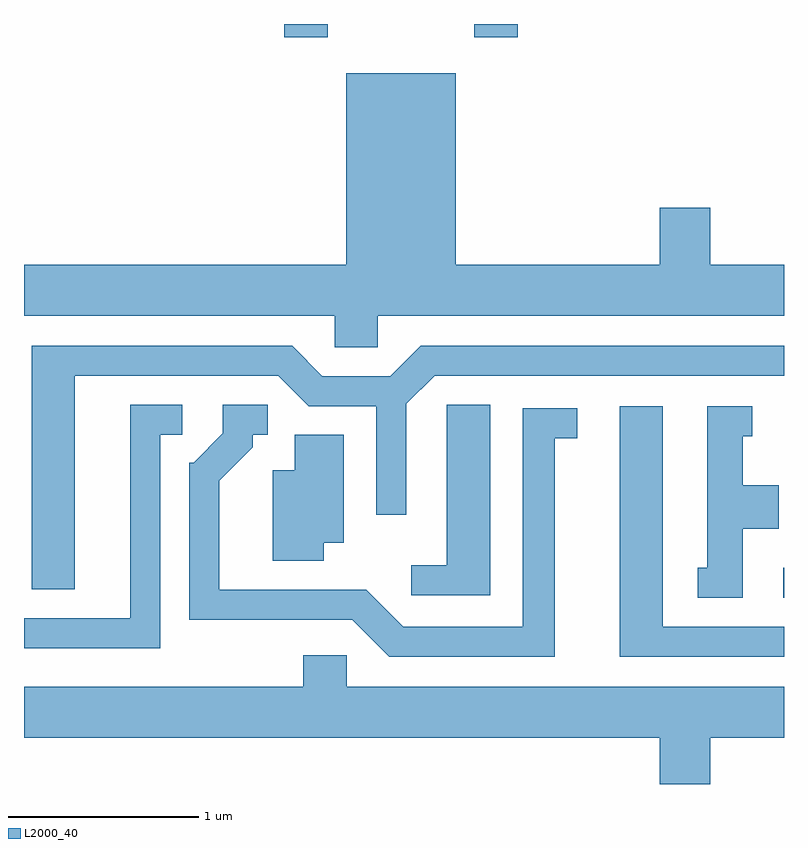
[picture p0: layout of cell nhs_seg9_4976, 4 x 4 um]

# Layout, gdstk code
import gdstk
lib = gdstk.Library(unit=1e-6, precision=1e-09)
def R(c, l, rs):  # rectangles x0, y0, x1, y1
    for r in rs: c.add(gdstk.rectangle(r[:2], r[2:], *l))
def P(c, l, *ps):  # polygons
    for p in ps: c.add(gdstk.Polygon(p, *l))
L2000_40 = (2000, 40)

nhs_seg9_4976 = lib.new_cell('nhs_seg9_4976')
R(nhs_seg9_4976, L2000_40, [(335.608,2021.411,335.611,2021.569), (332.981,2024.361,333.209,2024.432), (333.981,2024.361,334.209,2024.432)])
P(nhs_seg9_4976, L2000_40, [(333.474,2022.896),(335.611,2022.896),(335.611,2023.164),(335.224,2023.164),(335.224,2023.464),(334.956,2023.464),(334.956,2023.164),(333.884,2023.164),(333.884,2024.174),(333.306,2024.174),(333.306,2023.164),(331.611,2023.164),(331.611,2022.896),(333.246,2022.896),(333.246,2022.731),(333.474,2022.731)],
  [(331.879,2022.581),(332.949,2022.581),(333.109,2022.421),(333.466,2022.421),(333.466,2021.848),(333.624,2021.848),(333.624,2022.434),(333.772,2022.581),(335.611,2022.581),(335.611,2022.739),(333.699,2022.739),(333.539,2022.579),(333.182,2022.579),(333.022,2022.739),(331.651,2022.739),(331.651,2021.456),(331.879,2021.456)],
  [(334.404,2022.251),(334.523,2022.251),(334.523,2022.409),(334.236,2022.409),(334.236,2021.259),(333.607,2021.259),(333.412,2021.454),(332.639,2021.454),(332.639,2022.029),(332.814,2022.204),(332.814,2022.271),(332.893,2022.271),(332.893,2022.429),(332.656,2022.429),(332.656,2022.277),(332.504,2022.124),(332.481,2022.124),(332.481,2021.296),(333.339,2021.296),(333.534,2021.101),(334.404,2021.101)],
  [(334.064,2022.429),(333.836,2022.429),(333.836,2021.584),(333.648,2021.584),(333.648,2021.426),(334.064,2021.426)],
  [(332.329,2022.271),(332.443,2022.271),(332.443,2022.429),(332.171,2022.429),(332.171,2021.304),(331.611,2021.304),(331.611,2021.146),(332.329,2021.146)],
  [(335.394,2021.776),(335.584,2021.776),(335.584,2022.004),(335.394,2022.004),(335.394,2022.261),(335.443,2022.261),(335.443,2022.419),(335.206,2022.419),(335.206,2021.569),(335.158,2021.569),(335.158,2021.411),(335.394,2021.411)],
  [(335.611,2021.259),(334.974,2021.259),(334.974,2022.419),(334.746,2022.419),(334.746,2021.101),(335.611,2021.101)],
  [(333.189,2021.701),(333.294,2021.701),(333.294,2022.269),(333.036,2022.269),(333.036,2022.084),(332.921,2022.084),(332.921,2021.606),(333.189,2021.606)],
  [(335.224,2020.676),(335.611,2020.676),(335.611,2020.944),(333.309,2020.944),(333.309,2021.109),(333.081,2021.109),(333.081,2020.944),(331.611,2020.944),(331.611,2020.676),(334.956,2020.676),(334.956,2020.432),(335.224,2020.432)])

lib.write_gds('nhs_seg9_4976.gds')
